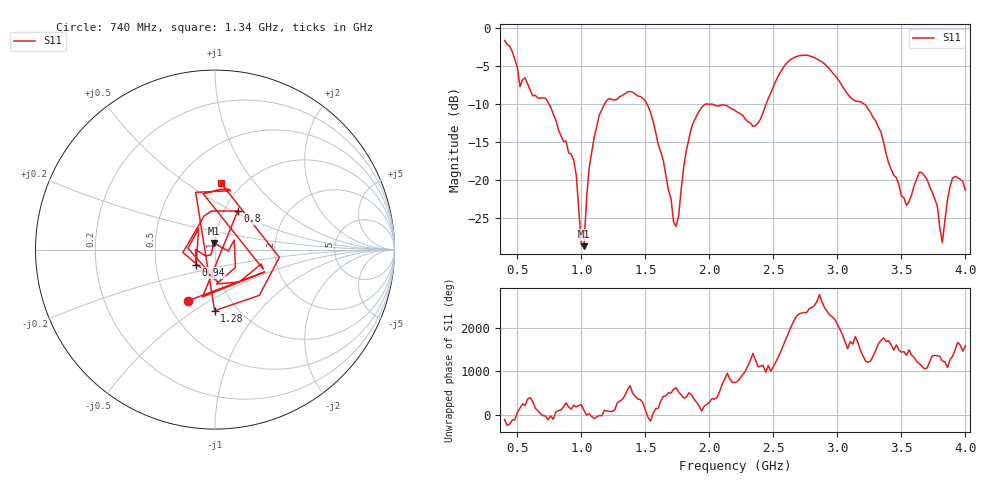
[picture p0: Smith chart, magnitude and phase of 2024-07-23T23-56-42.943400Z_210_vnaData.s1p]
!Created with skrf (http://scikit-rf.org).
# Hz S RI R 50.0
!freq ReS11 ImS11
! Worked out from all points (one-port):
!   181 points, 400 MHz to 4 GHz, reference 50 ohm
!   lowest |S11| = -28.7 dB at 1.02 GHz (marker M1), VSWR 1.08, Z = 49.3 + j3.58 ohm
!   |S11| at or under -10 dB: 747.4 MHz to 1.179 GHz (432.1 MHz wide, 44.8 % of centre); 1.513 GHz to 1.972 GHz (458.9 MHz wide, 26.3 % of centre); 3.211 GHz to end of sweep (the widest 3 of 5)
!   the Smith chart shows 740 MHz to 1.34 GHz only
!   S11 on the Smith chart (normalised r, x): 740 MHz: 0.63, -0.41; 800 MHz: 1.16, +0.53; 940 MHz: 0.80, -0.14; 1.28 GHz: 0.79, -0.61; 1.34 GHz: 0.81, +0.69
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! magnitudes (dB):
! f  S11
! 400 MHz  -1.6
! 520 MHz  -7.7
! 740 MHz  -9.8
! 800 MHz  -12.1
! 860 MHz  -14.9
! 940 MHz  -17.4
! 1 GHz  -28.5
! 1.02 GHz  -28.7
! 1.06 GHz  -18.4
! 1.1 GHz  -14.3
! 1.28 GHz  -9.4
! 1.3 GHz  -9.0
! 1.34 GHz  -8.6
! 1.52 GHz  -10.2
! 1.72 GHz  -25.5
! 1.76 GHz  -24.7
! 1.82 GHz  -16.1
! 1.92 GHz  -10.9
! 2.2 GHz  -10.8
! 2.36 GHz  -12.8
! 2.66 GHz  -3.9
! 3.1 GHz  -9.1
! 3.3 GHz  -12.2
! 3.56 GHz  -22.8
! 3.66 GHz  -19.0
! 3.82 GHz  -28.2
! 3.9 GHz  -19.7
! 4 GHz  -21.3
